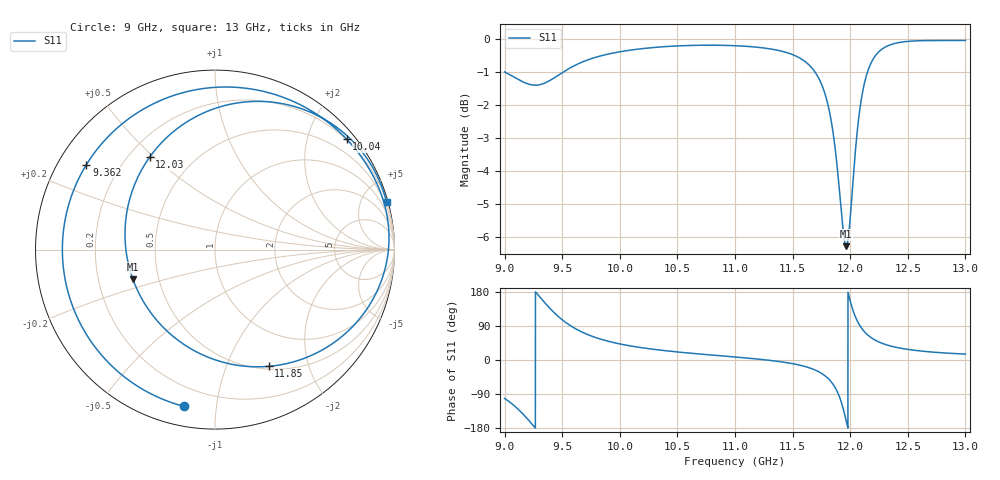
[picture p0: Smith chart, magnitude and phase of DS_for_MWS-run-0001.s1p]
! TOUCHSTONE file generated by CST DESIGN STUDIO
! Date and time: Wed Feb  5 13:35:12 2025
! Project name: C:\Work\MatlabApps\UnitCellOptimizationMatlab\CST\unitcell.cst
! Tree item: Tasks\Sweep1\SPara1\S-Parameters
! Header version: 2024
! Port assignment regex: !\s*Touchstone port\s*([0-9]+)\s*=\s*(CST MWS port|CST DES external port|CST DES block port)\s*(.+)\s* \(\"(.*)\"\)(\s*mode\s*([0-9]+))?.*
! Touchstone port assignment:
! Touchstone port 1 = CST DES external port 1 ("")
# GHz S MA R 50
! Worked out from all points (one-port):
!   4001 points, 9 GHz to 13 GHz, reference 50 ohm
!   lowest |S11| = -6.3 dB at 11.96 GHz (marker M1), VSWR 2.89, Z = 17.8 - j7.72 ohm
!   |S11| at or under -10 dB: nowhere
!   S11 on the Smith chart (normalised r, x): 9 GHz: 0.10, -0.82; 9.362 GHz: 0.08, +0.30; 10.04 GHz: 0.19, +2.74; 11.85 GHz: 0.53, -1.42; 12.03 GHz: 0.28, +0.49; 13 GHz: 0.18, +7.30
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9  0.8905 -101.3
9.112  0.8686 -128.4
9.22  0.8525 -162.9
9.29  0.8509 171.9
9.362  0.8588 146.6
9.43  0.8722 125.0
9.5  0.8881 106.2
9.594  0.9078 86.3
9.722  0.9284 67.0
10  0.9549 42.4
10.041  0.9575 39.9
10.5  0.9746 21.2
11  0.9753 7.9
11.5  0.9456 -9.7
11.724  0.8731 -30.6
11.795  0.8097 -45.0
11.854  0.7161 -65.3
11.913  0.5731 -102.2
11.965  0.4863 -160.0
12  0.5362 155.9
12.031  0.6315 125.1
12.064  0.7323 101.6
12.1  0.8164 83.5
12.153  0.8933 65.8
12.211  0.938 53.4
12.327  0.9751 38.9
12.5  0.99 28.0
13  0.9932 15.6
